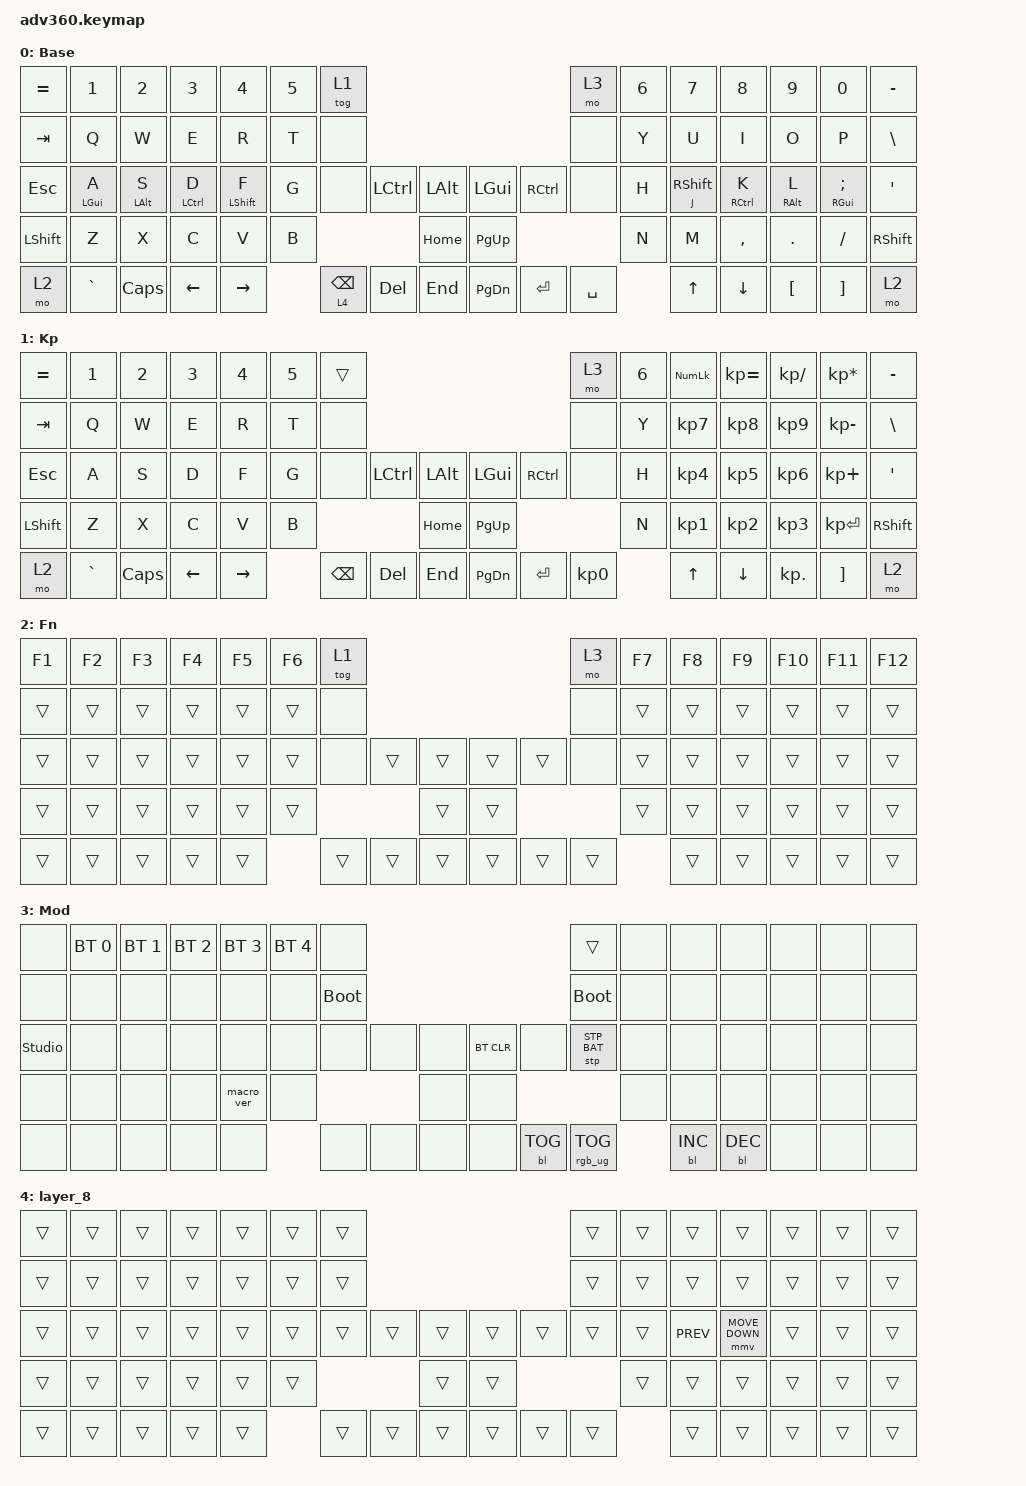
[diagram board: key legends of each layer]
#include <dt-bindings/zmk/stp.h>
#include <behaviors.dtsi>
#include <dt-bindings/zmk/backlight.h>
#include <dt-bindings/zmk/bt.h>
#include <dt-bindings/zmk/keys.h>
#include <dt-bindings/zmk/pointing.h>
#include <dt-bindings/zmk/rgb.h>

/ {
    behaviors {
        #include "macros.dtsi"
      #include "version.dtsi"

        hml: homerow_mods {
            compatible = "zmk,behavior-hold-tap";
            label = "HOMEROW_MODS";
            #binding-cells = <2>;
            tapping-term-ms = <280>;
            flavor = "balanced";
            bindings = <&kp>, <&kp>;

            hold-while-undecided;
            quick-tap-ms = <175>;
            require-prior-idle-ms = <150>;
            hold-trigger-key-positions = <7 8 9 10 11 12 13 23 24 25 26 27 41 42 43 44 45 55 56 57 58 59 71 72 73 74 75 21 22 23 24 37 38 39 40 41 42 53 54 55 56 68 69 70 71 72 35 36 52 66 67 65>;
            hold-trigger-on-release;
        };

        hmr: hmr {
            compatible = "zmk,behavior-hold-tap";
            label = "HMR";
            #binding-cells = <2>;
            tapping-term-ms = <280>;
            flavor = "balanced";
            bindings = <&kp>, <&kp>;

            hold-while-undecided;
            quick-tap-ms = <175>;
            require-prior-idle-ms = <150>;
            hold-trigger-on-release;
            hold-trigger-key-positions = <0 1 2 3 4 5 6 14 15 16 17 18 19 20 28 29 30 31 32 33 34 35 36 46 47 48 49 50 51 52 60 61 62 63 64 65 66 67 37 38 53 68 69 70>;
        };
    };

    keymap {
        compatible = "zmk,keymap";

        default_layer {
            display-name = "Base";
            bindings = <
&kp EQUAL  &kp N1           &kp N2           &kp N3               &kp N4             &kp N5  &tog 1                                                          &mo 3      &kp N6  &kp N7              &kp N8                &kp N9            &kp N0                    &kp MINUS
&kp TAB    &kp Q            &kp W            &kp E                &kp R              &kp T   &none                                                           &none      &kp Y   &kp U               &kp I                 &kp O             &kp P                     &kp BSLH
&kp ESC    &hml LEFT_GUI A  &hml LEFT_ALT S  &hml LEFT_CONTROL D  &hml LEFT_SHIFT F  &kp G   &none            &kp LCTRL  &kp LALT      &kp LGUI   &kp RCTRL  &none      &kp H   &hmr J RIGHT_SHIFT  &hmr RIGHT_CONTROL K  &hmr RIGHT_ALT L  &hmr RIGHT_GUI SEMICOLON  &kp SQT
&kp LSHFT  &kp Z            &kp X            &kp C                &kp V              &kp B                               &kp HOME      &kp PG_UP                        &kp N   &kp M               &kp COMMA             &kp DOT           &kp FSLH                  &kp RSHFT
&mo 2      &kp GRAVE        &kp CAPS         &kp LEFT             &kp RIGHT                  &lt 4 BACKSPACE  &kp DEL    &kp END       &kp PG_DN  &kp ENTER  &kp SPACE          &kp UP              &kp DOWN              &kp LBKT          &kp RBKT                  &mo 2
            >;
        };

        keypad {
            display-name = "Kp";
            bindings = <
&kp EQUAL  &kp N1     &kp N2    &kp N3    &kp N4     &kp N5  &trans                                                   &mo 3      &kp N6  &kp KP_NUM  &kp KP_EQUAL  &kp KP_DIVIDE  &kp KP_MULTIPLY  &kp MINUS
&kp TAB    &kp Q      &kp W     &kp E     &kp R      &kp T   &none                                                    &none      &kp Y   &kp KP_N7   &kp KP_N8     &kp KP_N9      &kp KP_MINUS     &kp BSLH
&kp ESC    &kp A      &kp S     &kp D     &kp F      &kp G   &none     &kp LCTRL  &kp LALT      &kp LGUI   &kp RCTRL  &none      &kp H   &kp KP_N4   &kp KP_N5     &kp KP_N6      &kp KP_PLUS      &kp SQT
&kp LSHFT  &kp Z      &kp X     &kp C     &kp V      &kp B                        &kp HOME      &kp PG_UP                        &kp N   &kp KP_N1   &kp KP_N2     &kp KP_N3      &kp KP_ENTER     &kp RSHFT
&mo 2      &kp GRAVE  &kp CAPS  &kp LEFT  &kp RIGHT          &kp BSPC  &kp DEL    &kp END       &kp PG_DN  &kp ENTER  &kp KP_N0          &kp UP      &kp DOWN      &kp KP_DOT     &kp RBKT         &mo 2
            >;
        };

        fn {
            display-name = "Fn";
            bindings = <
&kp F1  &kp F2  &kp F3  &kp F4  &kp F5  &kp F6  &tog 1                                      &mo 3   &kp F7  &kp F8  &kp F9  &kp F10  &kp F11  &kp F12
&trans  &trans  &trans  &trans  &trans  &trans  &none                                       &none   &trans  &trans  &trans  &trans   &trans   &trans
&trans  &trans  &trans  &trans  &trans  &trans  &none   &trans  &trans      &trans  &trans  &none   &trans  &trans  &trans  &trans   &trans   &trans
&trans  &trans  &trans  &trans  &trans  &trans                  &trans      &trans                  &trans  &trans  &trans  &trans   &trans   &trans
&trans  &trans  &trans  &trans  &trans          &trans  &trans  &trans      &trans  &trans  &trans          &trans  &trans  &trans   &trans   &trans
            >;
        };

        mod {
            display-name = "Mod";
            bindings = <
&none           &bt BT_SEL 0  &bt BT_SEL 1  &bt BT_SEL 2  &bt BT_SEL 3  &bt BT_SEL 4  &none                                                  &trans           &none  &none       &none       &none  &none  &none
&none           &none         &none         &none         &none         &none         &bootloader                                            &bootloader      &none  &none       &none       &none  &none  &none
&studio_unlock  &none         &none         &none         &none         &none         &none        &none  &none      &bt BT_CLR  &none       &stp STP_BAT     &none  &none       &none       &none  &none  &none
&none           &none         &none         &none         &macro_ver    &none                             &none      &none                                    &none  &none       &none       &none  &none  &none
&none           &none         &none         &none         &none                       &none        &none  &none      &none       &bl BL_TOG  &rgb_ug RGB_TOG         &bl BL_INC  &bl BL_DEC  &none  &none  &none
            >;
        };

        layer_8 {
            bindings = <
&trans  &trans  &trans  &trans  &trans  &trans  &trans                                      &trans  &trans  &trans      &trans          &trans  &trans  &trans
&trans  &trans  &trans  &trans  &trans  &trans  &trans                                      &trans  &trans  &trans      &trans          &trans  &trans  &trans
&trans  &trans  &trans  &trans  &trans  &trans  &trans  &trans  &trans      &trans  &trans  &trans  &trans  &kp C_PREV  &mmv MOVE_DOWN  &trans  &trans  &trans
&trans  &trans  &trans  &trans  &trans  &trans                  &trans      &trans                  &trans  &trans      &trans          &trans  &trans  &trans
&trans  &trans  &trans  &trans  &trans          &trans  &trans  &trans      &trans  &trans  &trans          &trans      &trans          &trans  &trans  &trans
            >;
        };
    };
};
